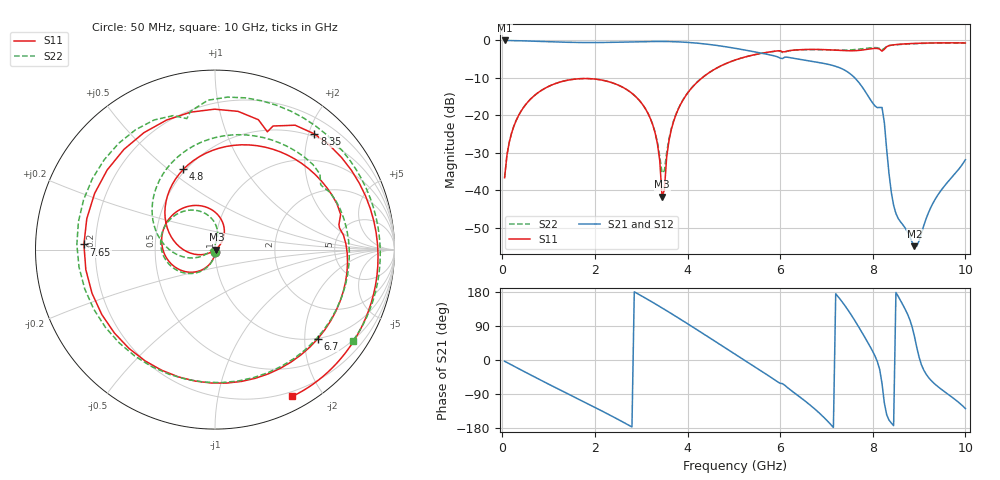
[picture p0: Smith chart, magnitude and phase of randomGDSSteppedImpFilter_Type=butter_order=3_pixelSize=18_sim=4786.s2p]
! freq	dB(S11)	phase(S11)	dB(S12)	phase(S12)
!  dB(S21)	phase(S21)	dB(S22)	phase(S22)
!S-par simulation data
#  GHz  S  DB  R 50
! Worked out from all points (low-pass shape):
!   200 points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, 50 MHz to 10 GHz, reference 50 ohm
!   highest |S21| = -0.02 dB at 50 MHz (marker M1); lowest = -55.0 dB at 8.9 GHz (marker M2)
!   |S21| within 3 dB of the highest: start of sweep to 5.431 GHz
!   lowest |S11| = -41.8 dB at 3.45 GHz (marker M3), VSWR 1.02, Z = 50.8 - j0.014 ohm
!   |S11| at or under -10 dB: start of sweep to 4.315 GHz
!   |S22| runs from -36.7 to -0.7 dB; largest |S21 - S12| = 0
!   S11 on the Smith chart (normalised r, x): 50 MHz: 1.00, -0.03; 4.8 GHz: 0.49, +0.57; 6.7 GHz: 0.99, -2.31; 7.65 GHz: 0.16, +0.02; 8.35 GHz: 0.45, +2.10; 10 GHz: 0.15, -1.65
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0.05  -36.68 -89.0  -0.02 -3.3  -0.02 -3.3  -36.68 -88.8
0.2  -24.79 -102.5  -0.04 -13.0  -0.04 -13.0  -24.79 -101.7
0.5  -17.23 -123.6  -0.13 -32.3  -0.13 -32.3  -17.23 -121.5
1.75  -10.20 155.7  -0.57 -109.7  -0.57 -109.7  -10.20 163.8
2.95  -15.91 75.1  -0.35 173.1  -0.35 173.1  -15.91 93.0
3.25  -22.62 52.5  -0.29 152.0  -0.29 152.0  -22.53 78.9
3.4  -32.12 39.0  -0.28 141.1  -0.28 141.1  -31.02 88.6
3.45  -41.75 -1.0  -0.29 137.4  -0.29 137.4  -35.43 120.9
3.6  -26.75 -151.3  -0.31 126.3  -0.31 126.3  -26.23 -154.0
3.8  -18.37 -168.1  -0.39 111.1  -0.39 111.1  -18.26 -157.9
4.8  -6.35 111.4  -1.65 33.2  -1.65 33.2  -6.35 132.2
5.05  -5.15 91.6  -2.16 13.6  -2.16 13.6  -5.16 113.2
5.8  -3.03 32.9  -3.93 -45.7  -3.93 -45.7  -3.05 54.2
6.7  -2.41 -40.9  -5.64 -124.3  -5.64 -124.3  -2.45 -25.7
7.25  -2.64 -106.0  -7.14 167.4  -7.14 167.4  -2.61 -94.7
7.65  -2.72 177.8  -10.53 96.6  -10.53 96.6  -2.41 -163.2
7.95  -2.26 110.5  -15.85 33.7  -15.85 33.7  -1.99 141.0
8.2  -2.87 66.0  -17.94 -62.4  -17.94 -62.4  -2.54 102.1
8.35  -1.41 49.3  -35.54 -158.4  -35.54 -158.4  -1.39 85.3
8.5  -1.12 30.1  -46.26 178.2  -46.26 178.2  -1.16 66.6
8.9  -0.80 -5.6  -54.99 62.4  -54.99 62.4  -0.88 29.5
10  -0.69 -62.2  -31.88 -128.1  -31.88 -128.1  -0.72 -33.6
